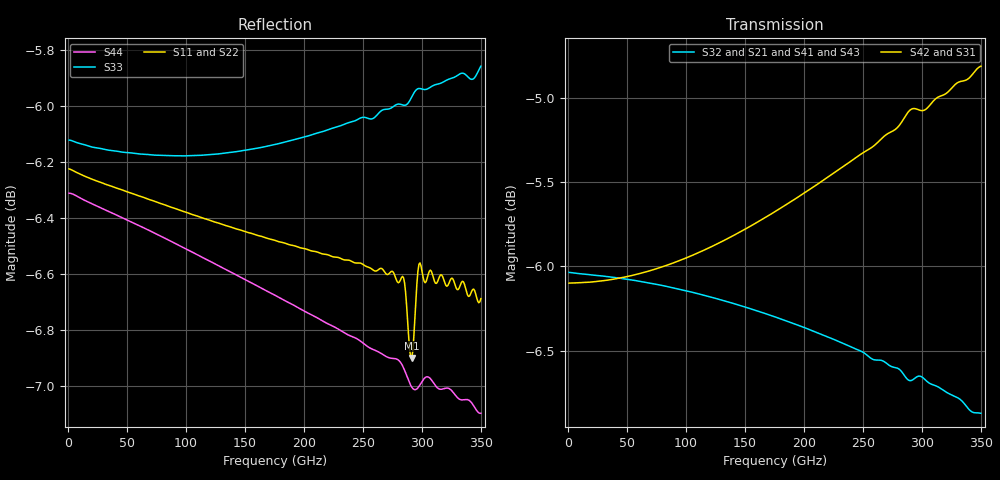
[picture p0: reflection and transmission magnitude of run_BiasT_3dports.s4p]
#  Hz  S  RI  R  50
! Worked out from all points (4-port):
!   400 points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, 875 MHz to 350 GHz, reference 50 ohm
!   strongest paths, dB at 875 MHz, 88.38 GHz, 175.9 GHz, 263.4 GHz, 350 GHz:
!     S42: -6.1, -6.0, -5.7, -5.3, -4.8
!     S31: -6.0, -6.0, -5.8, -5.5, -5.2
!     S32: -6.0, -6.1, -6.3, -6.6, -6.9
!     S21: -6.1, -6.2, -6.3, -6.5, -6.6
!     S41: -6.2, -6.3, -6.4, -6.6, -6.8
!     S43: -6.1, -6.2, -6.4, -6.7, -7.1
!   lowest |S11| = -6.9 dB at 291.4 GHz (marker M1), VSWR 2.65, Z = 24.4 + j24.5 ohm
!   |S11| at or under -10 dB: nowhere
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8.75e8  -0.4883 0.00188  0.4962 -0.00126  0.4995 -0.000504  0.4925 -0.00154
        0.4962 -0.00121  -0.4909 0.00109  0.4991 -0.00106  0.4955 -0.000147
        0.4995 -0.00046  0.4991 -0.00108  -0.4942 0.00148  0.4955 -0.00128
        0.4924 -0.00149  0.4955 -0.000151  0.4954 -0.00126  -0.4835 0.0016
1.365e11  -0.4136 0.2375  0.4579 -0.1674  0.5029 -0.0778  0.4385 -0.2005
          0.4579 -0.1673  -0.4572 0.138  0.4665 -0.1478  0.5108 -0.0284
          0.5027 -0.0783  0.4661 -0.1481  -0.4515 0.1946  0.4515 -0.1713
          0.4376 -0.2013  0.5102 -0.0293  0.4509 -0.1718  -0.4227 0.2015
2.38875e11  -0.293 0.3679  0.3934 -0.2709  0.5047 -0.1466  0.3497 -0.3182
            0.3934 -0.2707  -0.4072 0.2209  0.4107 -0.239  0.5359 -0.0661
            0.5038 -0.1473  0.4099 -0.2392  -0.3857 0.3147  0.3793 -0.2719
            0.3477 -0.3183  0.534 -0.0672  0.3781 -0.2721  -0.3316 0.3131
2.8525e11  -0.2196 0.4111  0.3542 -0.312  0.505 -0.1822  0.2967 -0.3617
           0.3539 -0.3121  -0.3792 0.2539  0.3781 -0.2732  0.5491 -0.088
           0.5041 -0.1839  0.3768 -0.2727  -0.3491 0.3597  0.3376 -0.3073
           0.2932 -0.3593  0.5476 -0.0894  0.3363 -0.3068  -0.2798 0.3519
2.91375e11  -0.2126 0.3987  0.3457 -0.3081  0.501 -0.1918  0.2877 -0.3571
            0.3462 -0.3084  -0.3719 0.2543  0.3745 -0.2742  0.5537 -0.0954
            0.5002 -0.1913  0.3736 -0.2746  -0.3458 0.3653  0.3333 -0.3095
            0.2872 -0.3593  0.5498 -0.0956  0.332 -0.3096  -0.2726 0.3536
2.98375e11  -0.2121 0.4193  0.3487 -0.3181  0.5 -0.1908  0.2881 -0.3688
            0.3492 -0.3178  -0.3728 0.2583  0.3713 -0.2817  0.5499 -0.0991
            0.4977 -0.1921  0.3704 -0.2811  -0.3395 0.3735  0.3289 -0.3163
            0.2851 -0.3652  0.5484 -0.1007  0.3273 -0.3156  -0.268 0.3577
3.5e11  -0.1229 0.4464  0.2991 -0.3551  0.4956 -0.2348  0.2223 -0.4042
        0.299 -0.3566  -0.3394 0.289  0.3311 -0.312  0.5628 -0.1293
        0.4945 -0.2357  0.33 -0.3108  -0.2956 0.4149  0.2772 -0.3466
        0.2199 -0.4018  0.5597 -0.13  0.2764 -0.3461  -0.2077 0.3898
